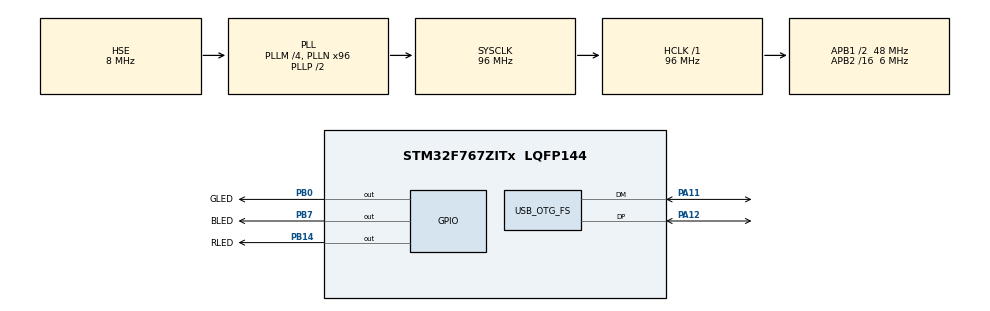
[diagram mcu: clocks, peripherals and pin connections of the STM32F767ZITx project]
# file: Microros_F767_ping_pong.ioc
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ADC1.Channel-14\#ChannelRegularConversion=ADC_CHANNEL_TEMPSENSOR
ADC1.ContinuousConvMode=DISABLE
ADC1.DMAContinuousRequests=DISABLE
ADC1.DiscontinuousConvMode=DISABLE
ADC1.EOCSelection=ADC_EOC_SINGLE_CONV
ADC1.NbrOfConversion=1
ADC1.NbrOfConversionFlag=1
ADC1.Rank-14\#ChannelRegularConversion=1
ADC1.SamplingTime-14\#ChannelRegularConversion=ADC_SAMPLETIME_480CYCLES
ADC1.master=1
FREERTOS.Tasks01=defaultTask,24,3000,StartDefaultTask,Default,NULL,Dynamic,NULL,NULL
FREERTOS.configUSE_NEWLIB_REENTRANT=0
Mcu.Family=STM32F7
Mcu.Name=STM32F767ZITx
Mcu.Package=LQFP144
NVIC.ADC_IRQn=true\:5\:0\:false\:false\:true\:true\:true\:true\:true
NVIC.OTG_FS_IRQn=true\:5\:0\:false\:false\:true\:true\:false\:true\:true
NVIC.PriorityGroup=NVIC_PRIORITYGROUP_4
NVIC.TIM1_UP_TIM10_IRQn=true\:15\:0\:false\:false\:true\:false\:false\:true\:true
NVIC.TimeBase=TIM1_UP_TIM10_IRQn
NVIC.TimeBaseIP=TIM1
PA11.Mode=Device_Only
PA11.Signal=USB_OTG_FS_DM
PA12.Mode=Device_Only
PA12.Signal=USB_OTG_FS_DP
PA13.Mode=Trace_Asynchronous_SW
PA13.Signal=SYS_JTMS-SWDIO
PA14.Mode=Trace_Asynchronous_SW
PA14.Signal=SYS_JTCK-SWCLK
PB0.GPIO_Label=GLED
PB0.Signal=GPIO_Output
PB14.GPIO_Label=RLED
PB14.Signal=GPIO_Output
PB3.Mode=Trace_Asynchronous_SW
PB3.Signal=SYS_JTDO-SWO
PB7.GPIO_Label=BLED
PB7.Signal=GPIO_Output
PC14/OSC32_IN.Mode=LSE-External-Oscillator
PC14/OSC32_IN.Signal=RCC_OSC32_IN
PC15/OSC32_OUT.Mode=LSE-External-Oscillator
PC15/OSC32_OUT.Signal=RCC_OSC32_OUT
PH0/OSC_IN.Mode=HSE-External-Oscillator
PH0/OSC_IN.Signal=RCC_OSC_IN
PH1/OSC_OUT.Mode=HSE-External-Oscillator
PH1/OSC_OUT.Signal=RCC_OSC_OUT
ProjectManager.HeapSize=0x200
ProjectManager.StackSize=0x400
ProjectManager.TargetToolchain=STM32CubeIDE
RCC.AHBFreq_Value=96000000
RCC.APB1CLKDivider=RCC_HCLK_DIV2
RCC.APB1Freq_Value=48000000
RCC.APB1TimFreq_Value=96000000
RCC.APB2CLKDivider=RCC_HCLK_DIV16
RCC.APB2Freq_Value=6000000
RCC.APB2TimFreq_Value=12000000
RCC.CortexFreq_Value=96000000
RCC.HCLKFreq_Value=96000000
RCC.HSE_VALUE=8000000
RCC.HSI_VALUE=16000000
RCC.PLLM=4
RCC.PLLN=96
RCC.PLLQ=4
RCC.SYSCLKFreq_VALUE=96000000
RCC.SYSCLKSource=RCC_SYSCLKSOURCE_PLLCLK
RCC.USBFreq_Value=48000000
RCC.VCOOutputFreq_Value=192000000
TIM9.Period=999
TIM9.Prescaler=11999
USB_DEVICE.CLASS_NAME_FS=CDC
USB_DEVICE.VirtualMode-CDC_FS=Cdc
USB_DEVICE.VirtualModeFS=Cdc_FS
USB_OTG_FS.VirtualMode=Device_Only
VP_ADC1_TempSens_Input.Mode=IN-TempSens
VP_FREERTOS_VS_CMSIS_V2.Mode=CMSIS_V2
VP_SYS_VS_tim1.Mode=TIM1
VP_TIM9_VS_ClockSourceINT.Mode=Internal
VP_USB_DEVICE_VS_USB_DEVICE_CDC_FS.Mode=CDC_FS
board=custom

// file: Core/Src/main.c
/* USER CODE BEGIN Header */
/**
  ******************************************************************************
  * @file           : main.c
  * @brief          : Main program body
  ******************************************************************************
  * @attention
  *
  * Copyright (c) 2024 STMicroelectronics.
  * All rights reserved.
  *
  * This software is licensed under terms that can be found in the LICENSE file
  * in the root directory of this software component.
  * If no LICENSE file comes with this software, it is provided AS-IS.
  *
  ******************************************************************************
  */
/* USER CODE END Header */
#include "main.h"
#include "cmsis_os.h"
#include "usb_device.h"

/* USER CODE BEGIN Includes */
#include <rcl/rcl.h>
#include <rcl/error_handling.h>
#include <rclc/rclc.h>
#include <rclc/executor.h>

#include <std_msgs/msg/header.h>

#include <stdio.h>
#include <unistd.h>
#include <time.h>

#include <uxr/client/transport.h>
#include <rmw_microxrcedds_c/config.h>
#include <rmw_microros/rmw_microros.h>

#include <std_msgs/msg/int32.h>

#include "microros_allocators.h"
/* USER CODE END Includes */

 ADC_HandleTypeDef hadc1;

TIM_HandleTypeDef htim9;

/* Definitions for defaultTask */
osThreadId_t defaultTaskHandle;
const osThreadAttr_t defaultTask_attributes = {
  .name = "defaultTask",
  .stack_size = 3000 * 4,
  .priority = (osPriority_t) osPriorityNormal,
};
/* USER CODE BEGIN PV */
bool cubemx_transport_open(struct uxrCustomTransport * transport);
bool cubemx_transport_close(struct uxrCustomTransport * transport);
size_t cubemx_transport_write(struct uxrCustomTransport* transport, const uint8_t * buf, size_t len, uint8_t * err);
size_t cubemx_transport_read(struct uxrCustomTransport* transport, uint8_t* buf, size_t len, int timeout, uint8_t* err);

#define STRING_BUFFER_LEN 100

#define RCCHECK(fn) { rcl_ret_t temp_rc = fn; if((temp_rc != RCL_RET_OK)){printf("Failed status on line %d: %d. Aborting.\n",__LINE__,(int)temp_rc); return 1;}}
#define RCSOFTCHECK(fn) { rcl_ret_t temp_rc = fn; if((temp_rc != RCL_RET_OK)){printf("Failed status on line %d: %d. Continuing.\n",__LINE__,(int)temp_rc);}}

rcl_publisher_t ping_publisher;
rcl_publisher_t pong_publisher;
rcl_subscription_t ping_subscriber;
rcl_subscription_t pong_subscriber;

std_msgs__msg__Header incoming_ping;
std_msgs__msg__Header outcoming_ping;
std_msgs__msg__Header incoming_pong;

int device_id;
int seq_no;
int pong_count;

void ping_timer_callback(rcl_timer_t * timer, int64_t last_call_time)
{
	(void) last_call_time;

	if (timer != NULL) {

		seq_no = rand();
		sprintf(outcoming_ping.frame_id.data, "%d_%d", seq_no, device_id);
		outcoming_ping.frame_id.size = strlen(outcoming_ping.frame_id.data);

		// Fill the message timestamp
		struct timespec ts;
		clock_gettime(CLOCK_REALTIME, &ts);
		outcoming_ping.stamp.sec = ts.tv_sec;
		outcoming_ping.stamp.nanosec = ts.tv_nsec;

		// Reset the pong count and publish the ping message
		pong_count = 0;
		RCSOFTCHECK(rcl_publish(&ping_publisher, (const void*)&outcoming_ping, NULL));
		printf("Ping send seq %s\n", outcoming_ping.frame_id.data);
	}
}

void ping_subscription_callback(const void * msgin)
{
	const std_msgs__msg__Header * msg = (const std_msgs__msg__Header *)msgin;

	// Dont pong my own pings
	if(strcmp(outcoming_ping.frame_id.data, msg->frame_id.data) != 0){
		printf("Ping received with seq %s. Answering.\n", msg->frame_id.data);
		RCSOFTCHECK(rcl_publish(&pong_publisher, (const void*)msg, NULL));
	}
}

void pong_subscription_callback(const void * msgin)
{
	const std_msgs__msg__Header * msg = (const std_msgs__msg__Header *)msgin;

	if(strcmp(outcoming_ping.frame_id.data, msg->frame_id.data) == 0) {
			pong_count++;
			printf("Pong for seq %s (%d)\n", msg->frame_id.data, pong_count);
	}
}

void StartDefaultTaskInit() {
    rmw_uros_set_custom_transport(
      true,
//      (void *) &huart2,
	  NULL,
      cubemx_transport_open,
      cubemx_transport_close,
      cubemx_transport_write,
      cubemx_transport_read);

	 rcl_allocator_t freeRTOS_allocator = rcutils_get_zero_initialized_allocator();
	    freeRTOS_allocator.allocate = microros_allocate;
	    freeRTOS_allocator.deallocate = microros_deallocate;
	    freeRTOS_allocator.reallocate = microros_reallocate;
	    freeRTOS_allocator.zero_allocate =  microros_zero_allocate;

	    if (!rcutils_set_default_allocator(&freeRTOS_allocator)) {
	        printf("Error on default allocators (line %d)\n", __LINE__);
	    }

	    // micro-ROS app

	        rcl_publisher_t publisher;
	        std_msgs__msg__Int32 msg;
	        rclc_support_t support;
	        rcl_allocator_t allocator;
	        rcl_node_t node;

	        allocator = rcl_get_default_allocator();

	        //create init_options
	        rclc_support_init(&support, 0, NULL, &allocator);

	        // create node
	        rclc_node_init_default(&node, "cubemx_node", "", &support);

	        // create publisher
	        rclc_publisher_init_default(
	          &publisher,
	          &node,
	          ROSIDL_GET_MSG_TYPE_SUPPORT(std_msgs, msg, Int32),
	          "cubemx_publisher");

	        msg.data = 0;

////	allocator = rcutils_get_zero_initialized_allocator();
////	allocator.allocate = custom_allocate;
////	allocator.deallocate = custom_deallocate;
////	allocator.reallocate = custom_reallocate;
////	allocator.zero_allocate = custom_zero_allocate;
//
////	rcutils_set_default_allocator(&allocator);
//
//		rclc_support_t support;
//
//		// create init_options
//		rclc_support_init(&support, 0, NULL, &freeRTOS_allocator);
//
//		// create node
//		rcl_node_t node;
//		RCCHECK(rclc_node_init_default(&node, "pingpong_node", "", &support));
//
//		// Create a reliable ping publisher
//		RCCHECK(rclc_publisher_init_default(&ping_publisher, &node, ROSIDL_GET_MSG_TYPE_SUPPORT(std_msgs, msg, Header), "/microROS/ping"));
//
//		// Create a best effort pong publisher
//		RCCHECK(rclc_publisher_init_best_effort(&pong_publisher, &node, ROSIDL_GET_MSG_TYPE_SUPPORT(std_msgs, msg, Header), "/microROS/pong"));
//
//		// Create a best effort ping subscriber
//		RCCHECK(rclc_subscription_init_best_effort(&ping_subscriber, &node, ROSIDL_GET_MSG_TYPE_SUPPORT(std_msgs, msg, Header), "/microROS/ping"));
//
//		// Create a best effort  pong subscriber
//		RCCHECK(rclc_subscription_init_best_effort(&pong_subscriber, &node, ROSIDL_GET_MSG_TYPE_SUPPORT(std_msgs, msg, Header), "/microROS/pong"));
//
//
//		// Create a 3 seconds ping timer timer,
//		rcl_timer_t timer;
//		RCCHECK(rclc_timer_init_default(&timer, &support, RCL_MS_TO_NS(2000), ping_timer_callback));
//
//
//		// Create executor
//		rclc_executor_t executor = rclc_executor_get_zero_initialized_executor();
//		RCCHECK(rclc_executor_init(&executor, &support.context, 3, &freeRTOS_allocator));
//		RCCHECK(rclc_executor_add_timer(&executor, &timer));
//		RCCHECK(rclc_executor_add_subscription(&executor, &ping_subscriber, &incoming_ping, &ping_subscription_callback, ON_NEW_DATA));
//		RCCHECK(rclc_executor_add_subscription(&executor, &pong_subscriber, &incoming_pong, &pong_subscription_callback, ON_NEW_DATA));
//
//		// Create and allocate the pingpong messages
//
//		char outcoming_ping_buffer[STRING_BUFFER_LEN];
//		outcoming_ping.frame_id.data = outcoming_ping_buffer;
//		outcoming_ping.frame_id.capacity = STRING_BUFFER_LEN;
//
//		char incoming_ping_buffer[STRING_BUFFER_LEN];
//		incoming_ping.frame_id.data = incoming_ping_buffer;
//		incoming_ping.frame_id.capacity = STRING_BUFFER_LEN;
//
//		char incoming_pong_buffer[STRING_BUFFER_LEN];
//		incoming_pong.frame_id.data = incoming_pong_buffer;
//		incoming_pong.frame_id.capacity = STRING_BUFFER_LEN;
//
//		device_id = rand();
//
//		rclc_executor_spin(&executor);
//
//		RCCHECK(rcl_publisher_fini(&ping_publisher, &node));
//		RCCHECK(rcl_publisher_fini(&pong_publisher, &node));
//		RCCHECK(rcl_subscription_fini(&ping_subscriber, &node));
//		RCCHECK(rcl_subscription_fini(&pong_subscriber, &node));
//		RCCHECK(rcl_node_fini(&node));
}

/* USER CODE END PV */

void SystemClock_Config(void);
static void MX_GPIO_Init(void);
static void MX_ADC1_Init(void);
static void MX_TIM9_Init(void);
void StartDefaultTask(void *argument);

int main(void)
{

  /* MCU Configuration--------------------------------------------------------*/

  /* Reset of all peripherals, Initializes the Flash interface and the Systick. */
  HAL_Init();

  /* Configure the system clock */
  SystemClock_Config();

  /* Initialize all configured peripherals */
  MX_GPIO_Init();
  MX_ADC1_Init();
  MX_TIM9_Init();
  /* USER CODE BEGIN 2 */
//  HAL_Delay(3000);
//  for (int i = 0; i < 6; i++) {
//	  HAL_GPIO_TogglePin(BLED_GPIO_Port, BLED_GPIO_Port);
//	  HAL_Delay(250);
//  }
  /* USER CODE END 2 */

  /* Init scheduler */
  osKernelInitialize();

  /* Create the thread(s) */
  /* creation of defaultTask */
  defaultTaskHandle = osThreadNew(StartDefaultTask, NULL, &defaultTask_attributes);

  /* Start scheduler */
  osKernelStart();

  /* We should never get here as control is now taken by the scheduler */
  /* Infinite loop */
  while (1)
  {

  }
}

void SystemClock_Config(void)
{
  RCC_OscInitTypeDef RCC_OscInitStruct = {0};
  RCC_ClkInitTypeDef RCC_ClkInitStruct = {0};

  /** Configure LSE Drive Capability
  */
  HAL_PWR_EnableBkUpAccess();

  /** Configure the main internal regulator output voltage
  */
  __HAL_RCC_PWR_CLK_ENABLE();
  __HAL_PWR_VOLTAGESCALING_CONFIG(PWR_REGULATOR_VOLTAGE_SCALE3);

  /** Initializes the RCC Oscillators according to the specified parameters
  * in the RCC_OscInitTypeDef structure.
  */
  RCC_OscInitStruct.OscillatorType = RCC_OSCILLATORTYPE_HSE;
  RCC_OscInitStruct.HSEState = RCC_HSE_ON;
  RCC_OscInitStruct.PLL.PLLState = RCC_PLL_ON;
  RCC_OscInitStruct.PLL.PLLSource = RCC_PLLSOURCE_HSE;
  RCC_OscInitStruct.PLL.PLLM = 4;
  RCC_OscInitStruct.PLL.PLLN = 96;
  RCC_OscInitStruct.PLL.PLLP = RCC_PLLP_DIV2;
  RCC_OscInitStruct.PLL.PLLQ = 4;
  RCC_OscInitStruct.PLL.PLLR = 2;
  if (HAL_RCC_OscConfig(&RCC_OscInitStruct) != HAL_OK)
  {
    Error_Handler();
  }

  /** Activate the Over-Drive mode
  */
  if (HAL_PWREx_EnableOverDrive() != HAL_OK)
  {
    Error_Handler();
  }

  /** Initializes the CPU, AHB and APB buses clocks
  */
  RCC_ClkInitStruct.ClockType = RCC_CLOCKTYPE_HCLK|RCC_CLOCKTYPE_SYSCLK
                              |RCC_CLOCKTYPE_PCLK1|RCC_CLOCKTYPE_PCLK2;
  RCC_ClkInitStruct.SYSCLKSource = RCC_SYSCLKSOURCE_PLLCLK;
  RCC_ClkInitStruct.AHBCLKDivider = RCC_SYSCLK_DIV1;
  RCC_ClkInitStruct.APB1CLKDivider = RCC_HCLK_DIV2;
  RCC_ClkInitStruct.APB2CLKDivider = RCC_HCLK_DIV16;

  if (HAL_RCC_ClockConfig(&RCC_ClkInitStruct, FLASH_LATENCY_3) != HAL_OK)
  {
    Error_Handler();
  }
}

static void MX_ADC1_Init(void)
{

  ADC_ChannelConfTypeDef sConfig = {0};

  /** Configure the global features of the ADC (Clock, Resolution, Data Alignment and number of conversion)
  */
  hadc1.Instance = ADC1;
  hadc1.Init.ClockPrescaler = ADC_CLOCK_SYNC_PCLK_DIV2;
  hadc1.Init.Resolution = ADC_RESOLUTION_12B;
  hadc1.Init.ScanConvMode = ADC_SCAN_DISABLE;
  hadc1.Init.ContinuousConvMode = DISABLE;
  hadc1.Init.DiscontinuousConvMode = DISABLE;
  hadc1.Init.ExternalTrigConvEdge = ADC_EXTERNALTRIGCONVEDGE_NONE;
  hadc1.Init.ExternalTrigConv = ADC_SOFTWARE_START;
  hadc1.Init.DataAlign = ADC_DATAALIGN_RIGHT;
  hadc1.Init.NbrOfConversion = 1;
  hadc1.Init.DMAContinuousRequests = DISABLE;
  hadc1.Init.EOCSelection = ADC_EOC_SINGLE_CONV;
  if (HAL_ADC_Init(&hadc1) != HAL_OK)
  {
    Error_Handler();
  }

  /** Configure for the selected ADC regular channel its corresponding rank in the sequencer and its sample time.
  */
  sConfig.Channel = ADC_CHANNEL_TEMPSENSOR;
  sConfig.Rank = ADC_REGULAR_RANK_1;
  sConfig.SamplingTime = ADC_SAMPLETIME_480CYCLES;
  if (HAL_ADC_ConfigChannel(&hadc1, &sConfig) != HAL_OK)
  {
    Error_Handler();
  }

}

static void MX_TIM9_Init(void)
{

  TIM_ClockConfigTypeDef sClockSourceConfig = {0};

  htim9.Instance = TIM9;
  htim9.Init.Prescaler = 11999;
  htim9.Init.CounterMode = TIM_COUNTERMODE_UP;
  htim9.Init.Period = 999;
  htim9.Init.ClockDivision = TIM_CLOCKDIVISION_DIV1;
  htim9.Init.AutoReloadPreload = TIM_AUTORELOAD_PRELOAD_DISABLE;
  if (HAL_TIM_Base_Init(&htim9) != HAL_OK)
  {
    Error_Handler();
  }
  sClockSourceConfig.ClockSource = TIM_CLOCKSOURCE_INTERNAL;
  if (HAL_TIM_ConfigClockSource(&htim9, &sClockSourceConfig) != HAL_OK)
  {
    Error_Handler();
  }

}

static void MX_GPIO_Init(void)
{
  GPIO_InitTypeDef GPIO_InitStruct = {0};

  /* GPIO Ports Clock Enable */
  __HAL_RCC_GPIOC_CLK_ENABLE();
  __HAL_RCC_GPIOH_CLK_ENABLE();
  __HAL_RCC_GPIOB_CLK_ENABLE();
  __HAL_RCC_GPIOA_CLK_ENABLE();

  /*Configure GPIO pin Output Level */
  HAL_GPIO_WritePin(GPIOB, GLED_Pin|RLED_Pin|BLED_Pin, GPIO_PIN_RESET);

  /*Configure GPIO pins : GLED_Pin RLED_Pin BLED_Pin */
  GPIO_InitStruct.Pin = GLED_Pin|RLED_Pin|BLED_Pin;
  GPIO_InitStruct.Mode = GPIO_MODE_OUTPUT_PP;
  GPIO_InitStruct.Pull = GPIO_NOPULL;
  GPIO_InitStruct.Speed = GPIO_SPEED_FREQ_LOW;
  HAL_GPIO_Init(GPIOB, &GPIO_InitStruct);

}

void StartDefaultTask(void *argument)
{
  /* init code for USB_DEVICE */
  MX_USB_DEVICE_Init();
  /* USER CODE BEGIN 5 */
//  StartDefaultTaskInit();
  rmw_uros_set_custom_transport(
    true,
//      (void *) &huart2,
	  NULL,
    cubemx_transport_open,
    cubemx_transport_close,
    cubemx_transport_write,
    cubemx_transport_read);

	 rcl_allocator_t freeRTOS_allocator = rcutils_get_zero_initialized_allocator();
	    freeRTOS_allocator.allocate = microros_allocate;
	    freeRTOS_allocator.deallocate = microros_deallocate;
	    freeRTOS_allocator.reallocate = microros_reallocate;
	    freeRTOS_allocator.zero_allocate =  microros_zero_allocate;

	    if (!rcutils_set_default_allocator(&freeRTOS_allocator)) {
	        printf("Error on default allocators (line %d)\n", __LINE__);
	    }

	    // micro-ROS app

	        rcl_publisher_t publisher;
	        std_msgs__msg__Int32 msg;
	        rclc_support_t support;
	        rcl_allocator_t allocator;
	        rcl_node_t node;

	        allocator = rcl_get_default_allocator();

	        //create init_options
	        rclc_support_init(&support, 0, NULL, &allocator);

	        // create node
	        rclc_node_init_default(&node, "cubemx_node", "", &support);

	        // create publisher
	        rclc_publisher_init_default(
	          &publisher,
	          &node,
	          ROSIDL_GET_MSG_TYPE_SUPPORT(std_msgs, msg, Int32),
	          "cubemx_publisher");

	        msg.data = 0;
  /* Infinite loop */
  for(;;)
  {
	  rcl_ret_t ret = rcl_publish(&publisher, &msg, NULL);
	       if (ret != RCL_RET_OK)
	       {
	         printf("Error publishing (line %d)\n", __LINE__);
	       }

	       msg.data++;
	HAL_GPIO_TogglePin(GLED_GPIO_Port, GLED_Pin);
    osDelay(1000);

  }
  /* USER CODE END 5 */
}

void HAL_TIM_PeriodElapsedCallback(TIM_HandleTypeDef *htim)
{
  if (htim->Instance == TIM1) {
    HAL_IncTick();
  }
}

void Error_Handler(void)
{
  __disable_irq();
  while (1)
  {
  }
}
